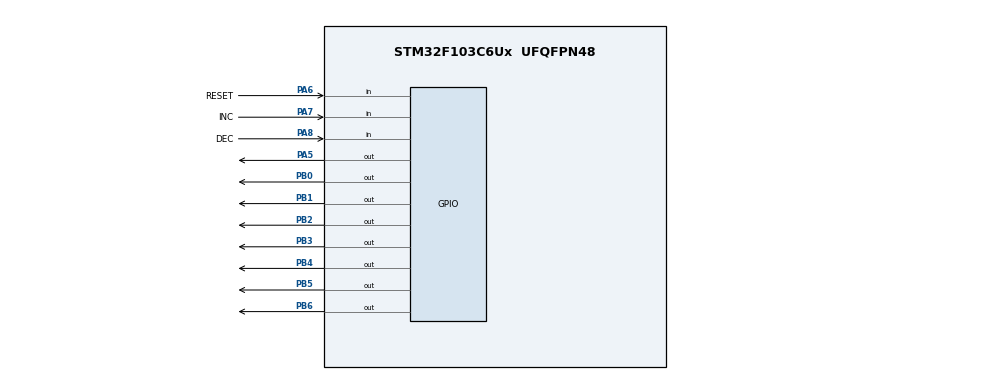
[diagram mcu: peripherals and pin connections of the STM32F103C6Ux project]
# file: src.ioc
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Mcu.Family=STM32F1
Mcu.Name=STM32F103C6Ux
Mcu.Package=UFQFPN48
NVIC.PriorityGroup=NVIC_PRIORITYGROUP_4
NVIC.TIM2_IRQn=true\:0\:0\:false\:false\:true\:true\:true\:true
PA5.Signal=GPIO_Output
PA6.GPIO_Label=RESET
PA6.GPIO_PuPd=GPIO_PULLUP
PA6.Signal=GPIO_Input
PA7.GPIO_Label=INC
PA7.GPIO_PuPd=GPIO_PULLUP
PA7.Signal=GPIO_Input
PA8.GPIO_Label=DEC
PA8.GPIO_PuPd=GPIO_PULLUP
PA8.Signal=GPIO_Input
PB0.Signal=GPIO_Output
PB1.Signal=GPIO_Output
PB2.Signal=GPIO_Output
PB3.Signal=GPIO_Output
PB4.Signal=GPIO_Output
PB5.Signal=GPIO_Output
PB6.Signal=GPIO_Output
ProjectManager.HeapSize=0x200
ProjectManager.StackSize=0x400
ProjectManager.TargetToolchain=Makefile
RCC.APB1Freq_Value=8000000
RCC.APB2Freq_Value=8000000
TIM2.Period=9
TIM2.Prescaler=7999
VP_SYS_VS_ND.Mode=No_Debug
VP_TIM2_VS_ClockSourceINT.Mode=Internal
board=custom

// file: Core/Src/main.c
/* USER CODE BEGIN Header */
/**
  ******************************************************************************
  * @file           : main.c
  * @brief          : Main program body
  ******************************************************************************
  * @attention
  *
  * Copyright (c) 2022 STMicroelectronics.
  * All rights reserved.
  *
  * This software is licensed under terms that can be found in the LICENSE file
  * in the root directory of this software component.
  * If no LICENSE file comes with this software, it is provided AS-IS.
  *
  ******************************************************************************
  */
/* USER CODE END Header */
#include "main.h"

/* USER CODE BEGIN Includes */
#include "common.h"
#include "button.h"
#include "timer.h"
#include "7SEG.h"
#include "fsm.h"

/* USER CODE END Includes */

TIM_HandleTypeDef htim2;

void SystemClock_Config(void);
static void MX_GPIO_Init(void);
static void MX_TIM2_Init(void);

/* USER CODE BEGIN 0 */
int counter = 0;
void HAL_TIM_PeriodElapsedCallback(TIM_HandleTypeDef *htim) {
  getRESETInput();
  getINCInput();
  getDECInput();
  runTimer10(); // for COUNTDOWN
  runTimer1(); // for BLINKING LED
}

/* USER CODE END 0 */

int main(void)
{

  /* MCU Configuration--------------------------------------------------------*/

  /* Reset of all peripherals, Initializes the Flash interface and the Systick. */
  HAL_Init();

  /* Configure the system clock */
  SystemClock_Config();

  /* Initialize all configured peripherals */
  MX_GPIO_Init();
  MX_TIM2_Init();
  /* USER CODE BEGIN 2 */
  HAL_TIM_Base_Start_IT(&htim2);

  /* USER CODE END 2 */

  /* Infinite loop */
  /* USER CODE BEGIN WHILE */
  while (1)
  {
    int timer1_flag = isTimer1Flag();
    int timer10_flag = isTimer10Flag();
    int incPressed = isINCPressed();
    int decPressed = isDECPressed();
    int resetPressed = isRESETPressed();
    int incLongPressed = isINCLongPressed();
    int decLongPressed = isDECLongPressed();

    if (timer1_flag) HAL_GPIO_TogglePin(GPIOA, GPIO_PIN_5);

    fsmstep1(incPressed, decPressed, resetPressed);
    fsmstep2(incLongPressed, decLongPressed);
    fsmstep3(timer10_flag);
    display7SEG(counter);

    /* USER CODE END WHILE */

  }
}

void SystemClock_Config(void)
{
  RCC_OscInitTypeDef RCC_OscInitStruct = {0};
  RCC_ClkInitTypeDef RCC_ClkInitStruct = {0};

  /** Initializes the RCC Oscillators according to the specified parameters
  * in the RCC_OscInitTypeDef structure.
  */
  RCC_OscInitStruct.OscillatorType = RCC_OSCILLATORTYPE_HSI;
  RCC_OscInitStruct.HSIState = RCC_HSI_ON;
  RCC_OscInitStruct.HSICalibrationValue = RCC_HSICALIBRATION_DEFAULT;
  RCC_OscInitStruct.PLL.PLLState = RCC_PLL_NONE;
  if (HAL_RCC_OscConfig(&RCC_OscInitStruct) != HAL_OK)
  {
    Error_Handler();
  }

  /** Initializes the CPU, AHB and APB buses clocks
  */
  RCC_ClkInitStruct.ClockType = RCC_CLOCKTYPE_HCLK|RCC_CLOCKTYPE_SYSCLK
                              |RCC_CLOCKTYPE_PCLK1|RCC_CLOCKTYPE_PCLK2;
  RCC_ClkInitStruct.SYSCLKSource = RCC_SYSCLKSOURCE_HSI;
  RCC_ClkInitStruct.AHBCLKDivider = RCC_SYSCLK_DIV1;
  RCC_ClkInitStruct.APB1CLKDivider = RCC_HCLK_DIV1;
  RCC_ClkInitStruct.APB2CLKDivider = RCC_HCLK_DIV1;

  if (HAL_RCC_ClockConfig(&RCC_ClkInitStruct, FLASH_LATENCY_0) != HAL_OK)
  {
    Error_Handler();
  }
}

static void MX_TIM2_Init(void)
{

  TIM_ClockConfigTypeDef sClockSourceConfig = {0};
  TIM_MasterConfigTypeDef sMasterConfig = {0};

  htim2.Instance = TIM2;
  htim2.Init.Prescaler = 7999;
  htim2.Init.CounterMode = TIM_COUNTERMODE_UP;
  htim2.Init.Period = 9;
  htim2.Init.ClockDivision = TIM_CLOCKDIVISION_DIV1;
  htim2.Init.AutoReloadPreload = TIM_AUTORELOAD_PRELOAD_DISABLE;
  if (HAL_TIM_Base_Init(&htim2) != HAL_OK)
  {
    Error_Handler();
  }
  sClockSourceConfig.ClockSource = TIM_CLOCKSOURCE_INTERNAL;
  if (HAL_TIM_ConfigClockSource(&htim2, &sClockSourceConfig) != HAL_OK)
  {
    Error_Handler();
  }
  sMasterConfig.MasterOutputTrigger = TIM_TRGO_RESET;
  sMasterConfig.MasterSlaveMode = TIM_MASTERSLAVEMODE_DISABLE;
  if (HAL_TIMEx_MasterConfigSynchronization(&htim2, &sMasterConfig) != HAL_OK)
  {
    Error_Handler();
  }

}

static void MX_GPIO_Init(void)
{
  GPIO_InitTypeDef GPIO_InitStruct = {0};

  /* GPIO Ports Clock Enable */
  __HAL_RCC_GPIOA_CLK_ENABLE();
  __HAL_RCC_GPIOB_CLK_ENABLE();

  /*Configure GPIO pin Output Level */
  HAL_GPIO_WritePin(GPIOA, GPIO_PIN_5, GPIO_PIN_RESET);

  /*Configure GPIO pin Output Level */
  HAL_GPIO_WritePin(GPIOB, GPIO_PIN_0|GPIO_PIN_1|GPIO_PIN_2|GPIO_PIN_3
                          |GPIO_PIN_4|GPIO_PIN_5|GPIO_PIN_6, GPIO_PIN_RESET);

  /*Configure GPIO pin : PA5 */
  GPIO_InitStruct.Pin = GPIO_PIN_5;
  GPIO_InitStruct.Mode = GPIO_MODE_OUTPUT_PP;
  GPIO_InitStruct.Pull = GPIO_NOPULL;
  GPIO_InitStruct.Speed = GPIO_SPEED_FREQ_LOW;
  HAL_GPIO_Init(GPIOA, &GPIO_InitStruct);

  /*Configure GPIO pins : PA6 PA7 PA8 */
  GPIO_InitStruct.Pin = GPIO_PIN_6|GPIO_PIN_7|GPIO_PIN_8;
  GPIO_InitStruct.Mode = GPIO_MODE_INPUT;
  GPIO_InitStruct.Pull = GPIO_PULLUP;
  HAL_GPIO_Init(GPIOA, &GPIO_InitStruct);

  /*Configure GPIO pins : PB0 PB1 PB2 PB3
                           PB4 PB5 PB6 */
  GPIO_InitStruct.Pin = GPIO_PIN_0|GPIO_PIN_1|GPIO_PIN_2|GPIO_PIN_3
                          |GPIO_PIN_4|GPIO_PIN_5|GPIO_PIN_6;
  GPIO_InitStruct.Mode = GPIO_MODE_OUTPUT_PP;
  GPIO_InitStruct.Pull = GPIO_NOPULL;
  GPIO_InitStruct.Speed = GPIO_SPEED_FREQ_LOW;
  HAL_GPIO_Init(GPIOB, &GPIO_InitStruct);

}

void Error_Handler(void)
{
  __disable_irq();
  while (1)
  {
  }
}
